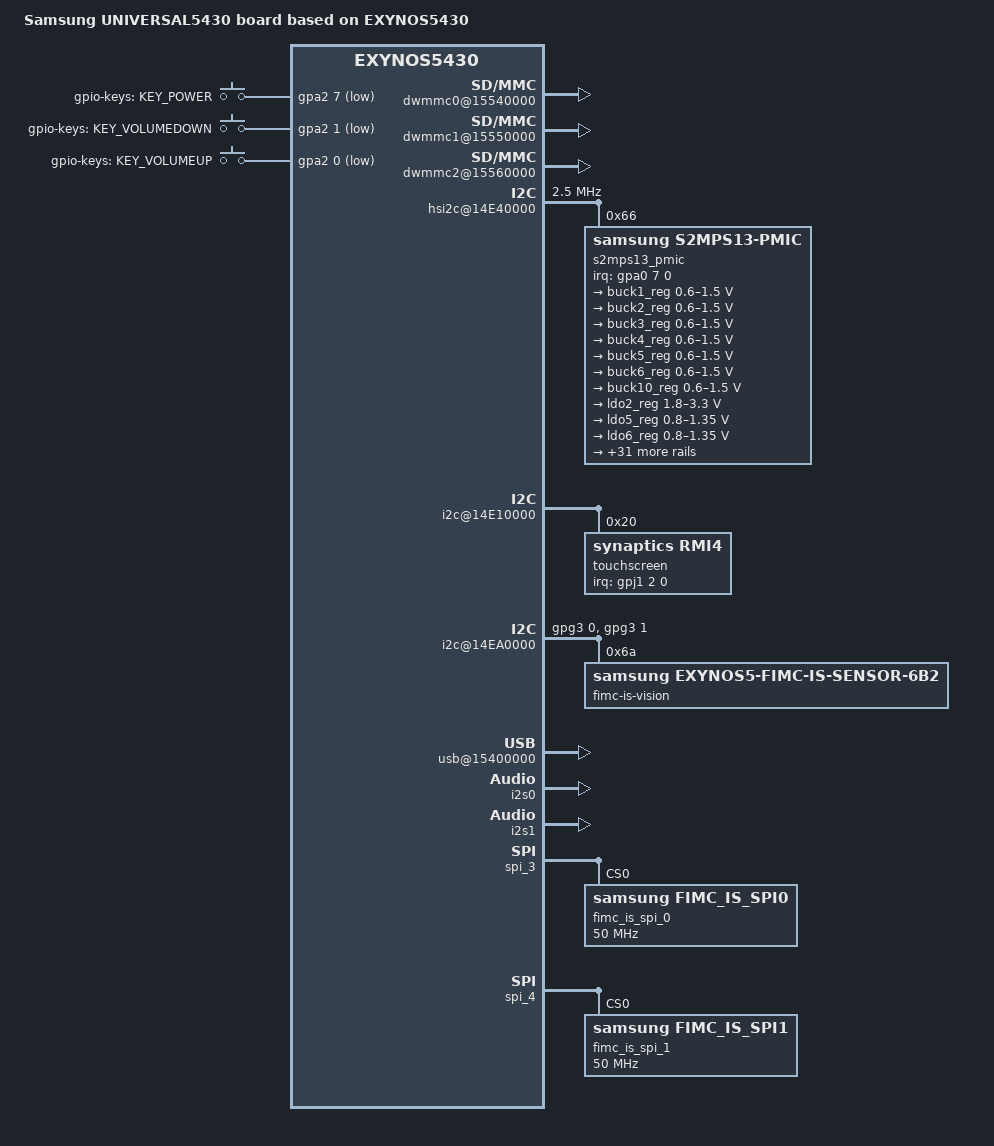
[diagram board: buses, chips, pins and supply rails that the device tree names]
/*
 * SAMSUNG UNIVERSAL5430 board device tree source
 *
 * Copyright (c) 2013 Samsung Electronics Co., Ltd.
 *		http://www.samsung.com
 *
 * This program is free software; you can redistribute it and/or modify
 * it under the terms of the GNU General Public License version 2 as
 * published by the Free Software Foundation.
*/

/dts-v1/;
#include "exynos5430_evt0.dtsi"
#include "exynos5430_evt0-kq_battery.dtsi"

/ {
	model = "Samsung UNIVERSAL5430 board based on EXYNOS5430";
	compatible = "samsung,UNIVERSAL5430", "samsung,exynos5430";

	chosen {
		bootargs = "console=ttySAC1,115200 vmalloc=512M";
	};

	fixed-rate-clocks {
		oscclk {
			compatible = "samsung,exynos5430-oscclk";
			clock-frequency = <24000000>;
		};
	};

	dwmmc0@15540000 {
		status = "okay";
		num-slots = <1>;
		broken-cd;
		bypass-smu;
		fixed_volt;
		only_once_tune;
		supports-highspeed;
		supports-hs200-mode;
		extra_tuning;
		fifo-depth = <0x80>;
		card-detect-delay = <200>;
		samsung,dw-mshc-ciu-div = <3>;
		samsung,dw-mshc-sdr-timing = <0 4 3>;
		samsung,dw-mshc-ddr-timing = <0 2 3>;
		samsung,dw-mshc-hs200-timing = <0 2 3>;
		samsung,dw-mshc-ddr200-timing = <0 2 1>;
		num-ref-clks = <8>;
		ciu_clkin = <25 50 50 100 200 100 200 400>;
		pinctrl-names = "default";
		pinctrl-0 = <&sd0_clk &sd0_cmd &sd0_rdqs &sd0_bus1 &sd0_bus4 &sd0_bus8>;

		slot@0 {
			reg = <0>;
			bus-width = <8>;
		};
	};

	dwmmc1@15550000 {
		status = "okay";
		num-slots = <1>;
		fixed_volt;
		only_once_tune;
		supports-highspeed;
		fifo-depth = <0x40>;
		card-detect-delay = <200>;
		samsung,dw-mshc-ciu-div = <3>;
		samsung,dw-mshc-sdr-timing = <2 3 3>;
		samsung,dw-mshc-ddr-timing = <1 2 3>;
		num-ref-clks = <8>;
		ciu_clkin = <25 50 50 100 200 100 200 400>;
		pinctrl-names = "default";
		pinctrl-0 = <&sd1_clk &sd1_cmd &sd1_bus1 &sd1_bus4>;

		slot@0 {
			reg = <0>;
			bus-width = <4>;
		};
	};


	dwmmc2@15560000 {
		status = "okay";
		num-slots = <1>;
		supports-highspeed;
		fifo-depth = <0x40>;
		card-detect-delay = <200>;
		samsung,dw-mshc-ciu-div = <3>;
		samsung,dw-mshc-sdr-timing = <2 3 3>;
		samsung,dw-mshc-ddr-timing = <1 2 3>;
		num-ref-clks = <8>;
		ciu_clkin = <25 50 50 100 200 100 200 400>;
		pinctrl-names = "default";
		pinctrl-0 = <&sd2_clk &sd2_cmd &sd2_cd &sd2_bus1 &sd2_bus4>;

		slot@0 {
			reg = <0>;
			bus-width = <4>;
			disable-wp;
		};
	};

	pinctrl@10580000 {
		pmic_irq: pmic-irq {
			samsung,pins = "gpa0-7";
			samsung,pin-pud = <3>;
			samsung,pin-drv = <3>;
		};
	};

	pinctrl@14CC0000 {
		/* Warm reset information from AP */
		pm_wrsti: pm-wrsti {
			samsung,pins = "gpf5-4";
			samsung,pin-con-pdn = <3>;
		};
	};

	hsi2c@14E40000 {
		samsung,hs-mode;
		clock-frequency = <2500000>;
		status = "okay";

		s2mps13_pmic@66 {
			compatible = "samsung,s2mps13-pmic";
			reg = <0x66>;
			interrupts = <7 0 0>;
			interrupt-parent = <&gpa0>;
			pinctrl-names = "default";
			pinctrl-0 = <&pmic_irq &pm_wrsti>;
			wtsr_smpl = <1>;

			regulators {
				buck1_reg: BUCK1 {
					regulator-name = "vdd_mif";
					regulator-min-microvolt = <600000>;
					regulator-max-microvolt = <1500000>;
					regulator-always-on;
					regulator-boot-on;
					regulator-ramp-delay = <12000>;
					regulator-initial-mode = <1>;
				};

				buck2_reg: BUCK2 {
					regulator-name = "vdd_eagle";
					regulator-min-microvolt = <600000>;
					regulator-max-microvolt = <1500000>;
					regulator-always-on;
					regulator-boot-on;
					regulator-ramp-delay = <12000>;
					regulator-initial-mode = <1>;
				};

				buck3_reg: BUCK3 {
					regulator-name = "vdd_kfc";
					regulator-min-microvolt = <600000>;
					regulator-max-microvolt = <1500000>;
					regulator-always-on;
					regulator-boot-on;
					regulator-ramp-delay = <12000>;
					regulator-initial-mode = <1>;
				};

				buck4_reg: BUCK4 {
					regulator-name = "vdd_int";
					regulator-min-microvolt = <600000>;
					regulator-max-microvolt = <1500000>;
					regulator-always-on;
					regulator-boot-on;
					regulator-ramp-delay = <12000>;
					regulator-initial-mode = <1>;
				};

				buck5_reg: BUCK5 {
					regulator-name = "vdd_disp_cam0";
					regulator-min-microvolt = <600000>;
					regulator-max-microvolt = <1500000>;
					regulator-always-on;
					regulator-boot-on;
					regulator-ramp-delay = <12000>;
					regulator-initial-mode = <1>;
				};

				buck6_reg: BUCK6 {
					regulator-name = "vdd_g3d";
					regulator-min-microvolt = <600000>;
					regulator-max-microvolt = <1500000>;
					regulator-always-on;
					regulator-boot-on;
					regulator-ramp-delay = <12000>;
					regulator-initial-mode = <1>;
				};

				buck10_reg: BUCK10 {
					regulator-name = "vdd_mem2";
					regulator-min-microvolt = <600000>;
					regulator-max-microvolt = <1500000>;
					regulator-always-on;
					regulator-boot-on;
					regulator-ramp-delay = <12000>;
					regulator-initial-mode = <1>;
				};

				ldo2_reg: LDO2 {
					regulator-name = "vqmmc";
					regulator-min-microvolt = <1800000>;
					regulator-max-microvolt = <3300000>;
					regulator-boot-on;
					regulator-ramp-delay = <12000>;
					regulator-initial-mode = <1>;
				};

				ldo5_reg: LDO5 {
					regulator-name = "vdd_ldo5";
					regulator-min-microvolt = <800000>;
					regulator-max-microvolt = <1350000>;
					regulator-always-on;
					regulator-initial-mode = <1>;
				};

				ldo6_reg: LDO6 {
					regulator-name = "vdd_ldo6";
					regulator-min-microvolt = <800000>;
					regulator-max-microvolt = <1350000>;
					regulator-always-on;
					regulator-initial-mode = <1>;
				};

				ldo7_reg: LDO7 {
					regulator-name = "vdd_ldo7";
					regulator-min-microvolt = <1000000>;
					regulator-max-microvolt = <2100000>;
					regulator-always-on;
					regulator-initial-mode = <1>;
				};

				ldo8_reg: LDO8 {
					regulator-name = "vdd_ldo8";
					regulator-min-microvolt = <1000000>;
					regulator-max-microvolt = <2100000>;
					regulator-always-on;
					regulator-initial-mode = <3>;
				};

				ldo9_reg: LDO9 {
					regulator-name = "vdd_ldo9";
					regulator-min-microvolt = <1000000>;
					regulator-max-microvolt = <2100000>;
					regulator-always-on;
					regulator-initial-mode = <1>;
				};

				ldo10_reg: LDO10 {
					regulator-name = "vdd_ldo10";
					regulator-min-microvolt = <1400000>;
					regulator-max-microvolt = <3400000>;
					regulator-always-on;
					regulator-initial-mode = <1>;
				};

				ldo11_reg: LDO11 {
					regulator-name = "vdd_ldo11";
					regulator-min-microvolt = <800000>;
					regulator-max-microvolt = <1350000>;
					regulator-always-on;
					regulator-initial-mode = <1>;
				};

				ldo12_reg: LDO12 {
					regulator-name = "vdd_ldo12";
					regulator-min-microvolt = <800000>;
					regulator-max-microvolt = <1350000>;
					regulator-always-on;
					regulator-initial-mode = <1>;
				};

				ldo13_reg: LDO13 {
					regulator-name = "vdd_ldo13";
					regulator-min-microvolt = <800000>;
					regulator-max-microvolt = <1350000>;
					regulator-always-on;
					regulator-initial-mode = <1>;
				};

				ldo14_reg: LDO14 {
					regulator-name = "vdd_ldo14";
					regulator-min-microvolt = <800000>;
					regulator-max-microvolt = <1350000>;
					regulator-always-on;
					regulator-initial-mode = <1>;
				};

				ldo15_reg: LDO15 {
					regulator-name = "vdd_ldo15";
					regulator-min-microvolt = <800000>;
					regulator-max-microvolt = <1350000>;
					regulator-always-on;
					regulator-initial-mode = <1>;
				};

				ldo16_reg: LDO16 {
					regulator-name = "vdd_ldo16";
					regulator-min-microvolt = <1400000>;
					regulator-max-microvolt = <3400000>;
					regulator-always-on;
					regulator-initial-mode = <1>;
				};

				ldo17_reg: LDO17 {
					regulator-name = "vdd_vmmc";
					regulator-min-microvolt = <1400000>;
					regulator-max-microvolt = <3400000>;
					regulator-always-on;
					regulator-initial-mode = <1>;
				};

				ldo18_reg: LDO18 {
					regulator-name = "vdd_ldo18";
					regulator-min-microvolt = <1000000>;
					regulator-max-microvolt = <2100000>;
					regulator-always-on;
					regulator-initial-mode = <3>;
				};

				ldo19_reg: LDO19 {
					regulator-name = "vdd_ldo19";
					regulator-min-microvolt = <1000000>;
					regulator-max-microvolt = <2100000>;
					regulator-always-on;
					regulator-initial-mode = <3>;
				};

				ldo20_reg: LDO20 {
					regulator-name = "vdd_ldo20";
					regulator-min-microvolt = <1400000>;
					regulator-max-microvolt = <3400000>;
					regulator-always-on;
					regulator-initial-mode = <3>;
				};

				ldo21_reg: LDO21 {
					regulator-name = "vdd_ldo21";
					regulator-min-microvolt = <1000000>;
					regulator-max-microvolt = <2100000>;
					regulator-always-on;
					regulator-initial-mode = <3>;
				};

				ldo22_reg: LDO22 {
					regulator-name = "vdd_ldo22";
					regulator-min-microvolt = <1000000>;
					regulator-max-microvolt = <2100000>;
					regulator-always-on;
					regulator-initial-mode = <3>;
				};

				ldo23_reg: LDO23 {
					regulator-name = "vdd_ldo23";
					regulator-min-microvolt = <800000>;
					regulator-max-microvolt = <1350000>;
					regulator-always-on;
					regulator-initial-mode = <3>;
				};

				ldo24_reg: LDO24 {
					regulator-name = "vdd_ldo24";
					regulator-min-microvolt = <800000>;
					regulator-max-microvolt = <1350000>;
					regulator-always-on;
					regulator-initial-mode = <3>;
				};

				ldo25_reg: LDO25 {
					regulator-name = "vdd_ldo25";
					regulator-min-microvolt = <1400000>;
					regulator-max-microvolt = <3400000>;
					regulator-always-on;
					regulator-initial-mode = <3>;
				};

				ldo26_reg: LDO26 {
					regulator-name = "vdd_ldo26";
					regulator-min-microvolt = <1400000>;
					regulator-max-microvolt = <3400000>;
					regulator-always-on;
					regulator-initial-mode = <3>;
				};

				ldo27_reg: LDO27 {
					regulator-name = "vdd_ldo27";
					regulator-min-microvolt = <1400000>;
					regulator-max-microvolt = <3400000>;
					regulator-always-on;
					regulator-initial-mode = <3>;
				};

				ldo28_reg: LDO28 {
					regulator-name = "vdd_ldo28";
					regulator-min-microvolt = <1000000>;
					regulator-max-microvolt = <2100000>;
					regulator-always-on;
					regulator-initial-mode = <3>;
				};

				ldo29_reg: LDO29 {
					regulator-name = "vdd_ldo29";
					regulator-min-microvolt = <1400000>;
					regulator-max-microvolt = <3400000>;
					regulator-always-on;
					regulator-initial-mode = <3>;
				};

				ldo30_reg: LDO30 {
					regulator-name = "tsp_avdd";
					regulator-min-microvolt = <1400000>;
					regulator-max-microvolt = <3400000>;
					regulator-always-on;
					regulator-initial-mode = <3>;
				};

				ldo31_reg: LDO31 {
					regulator-name = "tsp_io";
					regulator-min-microvolt = <1000000>;
					regulator-max-microvolt = <2100000>;
					regulator-always-on;
					regulator-initial-mode = <3>;
				};

				ldo32_reg: LDO32 {
					regulator-name = "vdd_ldo32";
					regulator-min-microvolt = <1000000>;
					regulator-max-microvolt = <2100000>;
					regulator-always-on;
					regulator-initial-mode = <3>;
				};

				ldo33_reg: LDO33 {
					regulator-name = "vdd_ldo33";
					regulator-min-microvolt = <1400000>;
					regulator-max-microvolt = <3400000>;
					regulator-always-on;
					regulator-initial-mode = <3>;
				};

				ldo34_reg: LDO34 {
					regulator-name = "vdd_ldo34";
					regulator-min-microvolt = <1000000>;
					regulator-max-microvolt = <2100000>;
					regulator-always-on;
					regulator-initial-mode = <3>;
				};
				ldo36_reg: LDO36 {
					regulator-name = "vdd_ldo36";
					regulator-min-microvolt = <800000>;
					regulator-max-microvolt = <1350000>;
					regulator-always-on;
					regulator-initial-mode = <3>;
				};

				ldo37_reg: LDO37 {
					regulator-name = "vdd_ldo37";
					regulator-min-microvolt = <1000000>;
					regulator-max-microvolt = <2100000>;
					regulator-always-on;
					regulator-initial-mode = <3>;
				};

				ldo38_reg: LDO38 {
					regulator-name = "vdd_ldo38";
					regulator-min-microvolt = <1400000>;
					regulator-max-microvolt = <3400000>;
					regulator-always-on;
					regulator-initial-mode = <3>;
				};
			};
		};
	};

	i2c@14E10000 {
		status = "okay";
		samsung,i2c-sda-delay = <100>;
		samsung,i2c-max-bus-freq = <400000>;
		#size-cells = <0>;
		status = "okay";
		touchscreen@20 {
			compatible = "synaptics,rmi4";
			reg = <0x20>;
			interrupts = <2 0 0>;
			interrupt-parent = <&gpj1>;
			sensor_max_x = <1079>;
			sensor_max_y = <1919>;
			max_touch_width = <28>;
			irq_type = <8200>;
			firmware_name = "tsp_synaptics/synaptics_b0_h.fw";
			fac_firmware_name = "tsp_synaptics/synaptics_b0_fac.fw";
			num_of_rx = <28>;
			num_of_tx = <16>;
			panel_revision = <8>;
		};


	};

	i2c@14EA0000 {
		gpios = <&gpg3 0 0 &gpg3 1 0 >;
		status = "okay";
		samsung,i2c-sda-delay = <100>;
		samsung,i2c-max-bus-freq = <400000>;
		status = "okay";
		fimc-is-vision@20 {
			compatible = "samsung,exynos5-fimc-is-sensor-6b2";
			reg = <0x6A>;
		};
	};

	/*disp_driver {*/
	decon_fb: decon_fb {
		decon: decon_ctrl {
			samsung,max_bpp = <32>;
			samsung,default_bpp = <24>;

			fb_driver_data {
				fb_win_variant_0 {
					has_osd_c = <1>;
					has_osd_d = <1>;
					osd_size_off = <0x08>;
					palette_size = <256>;
					VALID_BPP_1248 = <1>;
					VALID_BPP_13 = <1>;
					VALID_BPP_15 = <1>;
					VALID_BPP_16 = <1>;
					VALID_BPP_18 = <1>;
					VALID_BPP_19 = <1>;
					VALID_BPP_24 = <1>;
					VALID_BPP_25 = <1>;
					VALID_BPP_32 = <1>;
				};
				fb_win_variant_1 {
					has_osd_c = <1>;
					has_osd_d = <1>;
					has_osd_alpha = <1>;
					osd_size_off = <0x0c>;
					palette_size = <256>;
					VALID_BPP_1248 = <1>;
					VALID_BPP_13 = <1>;
					VALID_BPP_15 = <1>;
					VALID_BPP_16 = <1>;
					VALID_BPP_18 = <1>;
					VALID_BPP_19 = <1>;
					VALID_BPP_24 = <1>;
					VALID_BPP_25 = <1>;
					VALID_BPP_32 = <1>;
				};
				fb_win_variant_2 {
					has_osd_c = <1>;
					has_osd_d = <1>;
					has_osd_alpha = <1>;
					osd_size_off = <0x0c>;
					palette_size = <256>;
					VALID_BPP_1248 = <1>;
					VALID_BPP_13 = <1>;
					VALID_BPP_15 = <1>;
					VALID_BPP_16 = <1>;
					VALID_BPP_18 = <1>;
					VALID_BPP_19 = <1>;
					VALID_BPP_24 = <1>;
					VALID_BPP_25 = <1>;
					VALID_BPP_32 = <1>;
				};
				fb_win_variant_3 {
					has_osd_c = <1>;
					has_osd_alpha = <1>;
					palette_size = <256>;
					VALID_BPP_1248 = <1>;
					VALID_BPP_13 = <1>;
					VALID_BPP_15 = <1>;
					VALID_BPP_16 = <1>;
					VALID_BPP_18 = <1>;
					VALID_BPP_19 = <1>;
					VALID_BPP_24 = <1>;
					VALID_BPP_25 = <1>;
					VALID_BPP_32 = <1>;
				};
				fb_win_variant_4 {
					has_osd_c = <1>;
					has_osd_alpha = <1>;
					palette_size = <256>;
					VALID_BPP_1248 = <1>;
					VALID_BPP_13 = <1>;
					VALID_BPP_15 = <1>;
					VALID_BPP_16 = <1>;
					VALID_BPP_18 = <1>;
					VALID_BPP_19 = <1>;
					VALID_BPP_24 = <1>;
					VALID_BPP_25 = <1>;
					VALID_BPP_32 = <1>;
				};
			};
		};

		mipi_dsi: mipi_dsi {
			gpios = <&gpv7 2 0x1>;

			/* Interface definition: 0 - DSIM_COMMAND,
						 1 - DSIM_VDEO */
			e_interface = <0>;

			/* Pixel format : 0 - DSIM_CMD_3BPP,
					  1 - DSIM_CMD_8BPP,
					  2 - DSIM_CMD_12BPP,
					  3 - DSIM_CMD_16BPP,
					  4 - DSIM_VID_16BPP_565,
					  5 - DSIM_VID_18BPP_666PACKED,
					  6 - DSIM_18BPP_666LOOSELYPACKED,
					  7 - DSIM_24BPP_888 */
			e_pixel_format = <7>;

			/* main frame fifo auto flush at VSYNC pulse */
			auto_flush = <0>;
			eot_disable = <1>;
			auto_vertical_cnt = <0>;
			hse = <0>;
			hfp = <0>;
			hbp = <0>;
			hsa = <0>;

			/* num of data lane : 0 - DSIM_DATA_LANE_1,
					      1 - DSIM_DATA_LANE_2,
					      2 - DSIM_DATA_LANE_3,
					      3 - DSIM_DATA_LANE_4 */
			e_no_data_lane = <3>;
			/* byte clock divider : 0 - DSIM_PLL_OUT_DIV8,
						1 - DSIM_EXT_CLK_DIV8,
						2 - DSIM_EXT_CLK_BYPASS */
			e_byte_clk = <0>;
			/* Burst mode : 0 - DSIM_NON_BURST_SYNC_EVENT,
					2 - DSIM_NON_BURST_SYNC_PULSE,
					1 - DSIM_BURST
					4 - DSIM_NON_VIDEO_MODE */
			e_burst_mode = <1>;
			/* D-PHY PLL stable time spec :min = 200usec ~ max 400usec */
			pll_stable_time = <500>;
			/* escape clk : 16MHz */
			esc_clk = <16000000>;
			/* stop state holding counter after bta change count 0 ~ 0xfff */
			stop_holding_cnt = <0x0fff>;
			/* bta timeout 0 ~ 0xff */
			bta_timeout = <0xff>;
			/* lp rx timeout 0 ~ 0xffff */
			rx_timeout = <0xffff>;
		};
	};

	usb@15400000 {
		status = "okay";
		/* using gpio (1:use, 0:not use) */
		is_gpio = <0>;
	};

	usb@15510000 {
		/* using gpio (1:use, 0:not use) */
		is_gpio = <0>;
	};

	gpio_keys {
		compatible = "gpio-keys";
		#address-cells = <1>;
		#size-cells = <0>;
		poll-interval = <100>;
		button@1 {
			label = "gpio-keys: KEY_POWER";
			interrupts = <7 0 0>;
			interrupt-parent = <&gpa2>;
			linux,code = <116>;
			gpios = <&gpa2 7 0xf>;
			gpio-key,wakeup = <1>;
		};
		button@2 {
			label = "gpio-keys: KEY_VOLUMEDOWN";
			interrupts = <1 0 0>;
			interrupt-parent = <&gpa2>;
			linux,code = <114>;
			gpios = <&gpa2 1 0xf>;
		};
		button@3 {
			label = "gpio-keys: KEY_VOLUMEUP";
			interrupts = <0 0 0>;
			interrupt-parent = <&gpa2>;
			linux,code = <115>;
			gpios = <&gpa2 0 0xf>;
		};
	};

	i2s0: i2s@11440000 {
		status = "okay";
	};

	i2s1: i2s@14D60000 {
		status = "okay";
	};

	audio_codec_dummy: dummy-codec {
		compatible = "samsung,dummy-codec";
		status = "okay";
	};

	sound {
		compatible = "samsung,universal-dummy";
		samsung,audio-cpu = <&i2s0		/* primary */
				     &i2s0>;		/* secondary */
		samsung,audio-cpu-hdmi = <&i2s1>;	/* hdmi */
		samsung,audio-codec = <&audio_codec_dummy
				       &audio_codec_dummy
				       &audio_codec_dummy>;
		status = "okay";
	};

	spi_3: spi@141a0000 {
		#address-cells = <1>;
		#size-cells = <0>;

		fimc_is_spi_0@0 {
			compatible = "samsung,fimc_is_spi0";
			spi-max-frequency = <50000000>;
			reg = <0x0>;

			controller-data {
				samsung,spi-feedback-delay = <0>;
			};
		};
	};

	spi_4: spi@141b0000 {
		#address-cells = <1>;
		#size-cells = <0>;

		fimc_is_spi_1@0 {
			compatible = "samsung,fimc_is_spi1";
			spi-max-frequency = <50000000>;
			reg = <0x0>;
			pinctrl-names = "default";
			pinctrl-0 = <&fimc_is_comp_int>;

			controller-data {
				samsung,spi-feedback-delay = <0>;
			};
		};
	};

	fimc_is_sensor0: fimc_is_sensor@12100000 {
		scenario = <0>;
		gpio_reset = <&gpc0 4 0x1>;
		gpios_comp_en = <&gpg1 2 0x1>; /* COMP_EN */
		gpios_comp_reset = <&gpf5 7 0x1>; /* COMP_rstn */
		id = <0>;
		mclk_ch = <0>;
		csi_ch = <0>;
		flite_ch = <0>;
		i2c_ch = <0x100>;
		i2c_addr = <0x5A5A>;
		flash_first_gpio = <2>;
		flash_second_gpio = <3>;
		is_bns = <0>;
		status = "okay";
	};

	fimc_is_sensor1: fimc_is_sensor@12110000 {
		scenario = <0>;
		gpio_reset = <&gpc0 3 0x1>;
		gpio_standby = <&gpc0 0 0x1>;
		id = <1>;
		mclk_ch = <2>;
		csi_ch = <2>;
		flite_ch = <2>;
		i2c_ch = <0x2>;
		i2c_addr = <0x6A>;
		is_bns = <0>;
		status = "okay";
	};

	fimc_is@14000000 {
		fimc_is_dvfs {
			default_int = <667000>; /* L0 */
			default_cam = <666000>; /* L0 */
			default_mif = <800000>; /* L0 */
			default_i2c = <0>;

			front_preview_int = <667000>; /* L0 */
			front_preview_cam = <222000>; /* L4 */
			front_preview_mif = <800000>; /* L0 */
			front_preview_i2c = <0>;

			front_capture_int = <667000>; /* L0 */
			front_capture_cam = <222000>; /* L4 */
			front_capture_mif = <800000>; /* L0 */
			front_capture_i2c = <0>;

			front_camcording_int = <667000>; /* L0 */
			front_camcording_cam = <222000>; /* L4 */
			front_camcording_mif = <800000>; /* L0 */
			front_camcording_i2c = <0>;

			front_vt1_int = <667000>; /* L0 */
			front_vt1_cam = <222000>; /* L4 */
			front_vt1_mif = <800000>; /* L0 */
			front_vt1_i2c = <0>;

			front_vt2_int = <667000>; /* L0 */
			front_vt2_cam = <222000>; /* L4 */
			front_vt2_mif = <800000>; /* L0 */
			front_vt2_i2c = <0>;

			rear_preview_int = <667000>; /* L0 */
			rear_preview_cam = <333000>; /* L3 */
			rear_preview_mif = <800000>; /* L0 */
			rear_preview_i2c = <0>;

			rear_capture_int = <667000>; /* L0 */
			rear_capture_cam = <444000>; /* L2 */
			rear_capture_mif = <800000>; /* L0 */
			rear_capture_i2c = <0>;

			rear_camcording_int = <667000>; /* L0 */
			rear_camcording_cam = <333000>; /* L3 */
			rear_camcording_mif = <800000>; /* L0 */
			rear_camcording_i2c = <0>;

			dual_preview_int = <667000>; /* L0 */
			dual_preview_cam = <555000>; /* L1 */
			dual_preview_mif = <800000>; /* L0 */
			dual_preview_i2c = <0>;

			dual_capture_int = <667000>; /* L0 */
			dual_capture_cam = <666000>; /* L0 */
			dual_capture_mif = <800000>; /* L0 */
			dual_capture_i2c = <0>;

			dual_camcording_int = <667000>; /* L0 */
			dual_camcording_cam = <555000>; /* L1 */
			dual_camcording_mif = <800000>; /* L0 */
			dual_camcording_i2c = <0>;

			high_speed_fps_int = <667000>; /* L0 */
			high_speed_fps_cam = <666000>; /* L0 */
			high_speed_fps_mif = <800000>; /* L0 */
			high_speed_fps_i2c = <0>;

			dis_enable_int = <667000>; /* L0 */
			dis_enable_cam = <666000>; /* L0 */
			dis_enable_mif = <800000>; /* L0 */
			dis_enable_i2c = <0>;

			max_int = <667000>; /* L0 */
			max_cam = <666000>; /* L0 */
			max_mif = <800000>; /* L0 */
			max_i2c = <0>;
		};
	};

	pinctrl@14CC0000 {
		fimc_is_ch0_i2c: fimc-is-ch0_i2c {
			samsung,pins = "gpc2-3", "gpc2-2", "gpc2-1", "gpc2-0";
			samsung,pin-function = <2>;
			samsung,pin-pud = <3>;
			samsung,pin-drv = <6>;
		};
		fimc_is_flash: fimc-is-flash {
			samsung,pins = "gpc0-2", "gpc0-1";
			samsung,pin-function = <2>;
			samsung,pin-pud = <0>;
			samsung,pin-drv = <0>;
		};
		fimc_is_comp_int: fimc-is-comp-int {
			samsung,pins = "gpc1-0";
			samsung,pin-function = <3>;
			samsung,pin-pud = <0>;
			samsung,pin-drv = <0>;
		};
	};

	ion {
		compatible = "samsung,exynos5430-ion";

		contig-names = "common",
			       "mfc_sh",
			       "g2d_wfd",
			       "video",
			       "mfc_input",
			       "sectbl",
			       "mfc_fw",
			       "mfc_nfw";

		contig = <0 0x2000000 0x0>,
		         <2 0x200000 0x0>,
		         <10 0x800000 0x0>,
		         <11 0x14000000 0x0>,
		         <7 0x2400000 0x0>,
		         <9 0x400000 0x0>,
		         <8 0x400000 0x0>,
		         <12 0x400000 0x0>;

		ion_noncontig_heap {
			id-type = <0 0>;
		};

		exynos_contig_heap {
			id-type = <4 6>;
		};
	};
};
